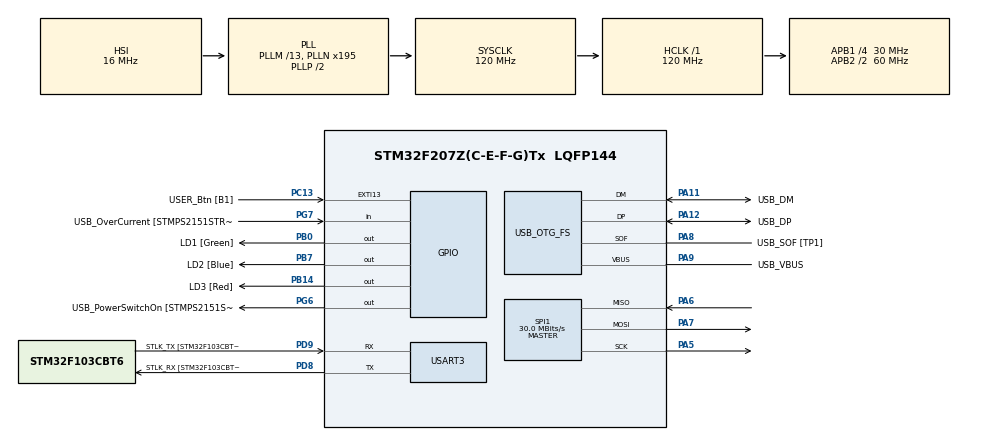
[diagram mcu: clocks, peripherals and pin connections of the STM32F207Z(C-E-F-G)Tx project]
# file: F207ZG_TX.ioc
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Mcu.Family=STM32F2
Mcu.Name=STM32F207Z(C-E-F-G)Tx
Mcu.Package=LQFP144
NVIC.PriorityGroup=NVIC_PRIORITYGROUP_4
PA1.GPIO_Label=RMII_REF_CLK [LAN8742A-CZ-TR_REFCLK0]
PA1.Signal=ETH_REF_CLK
PA10.GPIO_Label=USB_ID
PA10.Signal=USB_OTG_FS_ID
PA11.GPIO_Label=USB_DM
PA11.Mode=Device_Only
PA11.Signal=USB_OTG_FS_DM
PA12.GPIO_Label=USB_DP
PA12.Mode=Device_Only
PA12.Signal=USB_OTG_FS_DP
PA13.GPIO_Label=TMS
PA13.Mode=Serial_Wire
PA13.Signal=SYS_JTMS-SWDIO
PA14.GPIO_Label=TCK
PA14.Mode=Serial_Wire
PA14.Signal=SYS_JTCK-SWCLK
PA2.GPIO_Label=RMII_MDIO [LAN8742A-CZ-TR_MDIO]
PA2.Signal=ETH_MDIO
PA5.Mode=Full_Duplex_Master
PA5.Signal=SPI1_SCK
PA6.Mode=Full_Duplex_Master
PA6.Signal=SPI1_MISO
PA7.Mode=Full_Duplex_Master
PA7.Signal=SPI1_MOSI
PA8.GPIO_Label=USB_SOF [TP1]
PA8.Mode=Activate_SOF_FS
PA8.Signal=USB_OTG_FS_SOF
PA9.GPIO_Label=USB_VBUS
PA9.Mode=Activate_VBUS
PA9.Signal=USB_OTG_FS_VBUS
PB0.GPIO_Label=LD1 [Green]
PB0.Signal=GPIO_Output
PB13.GPIO_Label=RMII_TXD1 [LAN8742A-CZ-TR_TXD1]
PB13.Signal=ETH_TXD1
PB14.GPIO_Label=LD3 [Red]
PB14.Signal=GPIO_Output
PB3.GPIO_Label=SWO
PB3.Signal=SYS_JTDO-SWO
PB7.GPIO_Label=LD2 [Blue]
PB7.Signal=GPIO_Output
PC1.GPIO_Label=RMII_MDC [LAN8742A-CZ-TR_MDC]
PC1.Signal=ETH_MDC
PC13.GPIO_Label=USER_Btn [B1]
PC13.Signal=GPXTI13
PC14-OSC32_IN.Mode=LSE-External-Oscillator
PC14-OSC32_IN.Signal=RCC_OSC32_IN
PC15-OSC32_OUT.Mode=LSE-External-Oscillator
PC15-OSC32_OUT.Signal=RCC_OSC32_OUT
PC4.GPIO_Label=RMII_RXD0 [LAN8742A-CZ-TR_RXD0]
PC4.Signal=ETH_RXD0
PC5.GPIO_Label=RMII_RXD1 [LAN8742A-CZ-TR_RXD1]
PC5.Signal=ETH_RXD1
PD8.GPIO_Label=STLK_RX [STM32F103CBT6_PA2]
PD8.Mode=Asynchronous
PD8.Signal=USART3_TX
PD9.GPIO_Label=STLK_TX [STM32F103CBT6_PA3]
PD9.Mode=Asynchronous
PD9.Signal=USART3_RX
PG11.GPIO_Label=RMII_TX_EN [LAN8742A-CZ-TR_TXEN]
PG11.Signal=ETH_TX_EN
PG13.GPIO_Label=RMII_TXD0 [LAN8742A-CZ-TR_TXD0]
PG13.Signal=ETH_TXD0
PG6.GPIO_Label=USB_PowerSwitchOn [STMPS2151STR_EN]
PG6.Signal=GPIO_Output
PG7.GPIO_Label=USB_OverCurrent [STMPS2151STR_FAULT]
PG7.Signal=GPIO_Input
PH0-OSC_IN.GPIO_Label=MCO [STM32F103CBT6_PA8]
PH0-OSC_IN.Mode=HSE-External-Clock-Source
PH0-OSC_IN.Signal=RCC_OSC_IN
PH1-OSC_OUT.Mode=HSE-External-Clock-Source
PH1-OSC_OUT.Signal=RCC_OSC_OUT
ProjectManager.HeapSize=0x200
ProjectManager.StackSize=0x400
ProjectManager.TargetToolchain=STM32CubeIDE
RCC.48MHZClocksFreq_Value=48000000
RCC.AHBFreq_Value=120000000
RCC.APB1CLKDivider=RCC_HCLK_DIV4
RCC.APB1Freq_Value=30000000
RCC.APB1TimFreq_Value=60000000
RCC.APB2CLKDivider=RCC_HCLK_DIV2
RCC.APB2Freq_Value=60000000
RCC.APB2TimFreq_Value=120000000
RCC.CortexFreq_Value=120000000
RCC.HCLKFreq_Value=120000000
RCC.HSE_VALUE=8000000
RCC.HSI_VALUE=16000000
RCC.PLLM=13
RCC.PLLMUL=RCC_PLL_MUL9
RCC.PLLN=195
RCC.PLLQ=5
RCC.PRESCALERUSB=RCC_USBCLKSOURCE_PLL_DIV1_5
RCC.SYSCLKFreq_VALUE=120000000
RCC.SYSCLKSource=RCC_SYSCLKSOURCE_PLLCLK
RCC.SYSCLKSourceVirtual=RCC_SYSCLKSOURCE_PLLCLK
RCC.USBFreq_Value=48000000
RCC.VCOOutputFreq_Value=240000000
SPI1.CalculateBaudRate=30.0 MBits/s
SPI1.Direction=SPI_DIRECTION_2LINES
SPI1.Mode=SPI_MODE_MASTER
SPI1.VirtualType=VM_MASTER
USART3.VirtualMode=VM_ASYNC
USB_OTG_FS.VirtualMode=Device_Only
board=NUCLEO-F207ZG

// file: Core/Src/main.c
/* USER CODE BEGIN Header */
/**
 ******************************************************************************
 * @file           : main.c
 * @brief          : Main program body
 ******************************************************************************
 * @attention
 *
 * Copyright (c) 2026 STMicroelectronics.
 * All rights reserved.
 *
 * This software is licensed under terms that can be found in the LICENSE file
 * in the root directory of this software component.
 * If no LICENSE file comes with this software, it is provided AS-IS.
 *
 ******************************************************************************
 */
/* USER CODE END Header */
#include "main.h"

/* USER CODE BEGIN Includes */
#include "lora.h"
#include "mpu6050.h"
#include <string.h>
#include <math.h>
/* USER CODE END Includes */

SPI_HandleTypeDef hspi1;

UART_HandleTypeDef huart3;

PCD_HandleTypeDef hpcd_USB_OTG_FS;

/* USER CODE BEGIN PV */
I2C_HandleTypeDef hi2c1;
MPU6050_t MPU6050;
uint8_t tx_buffer[23];
/* USER CODE END PV */

void SystemClock_Config(void);
static void MX_GPIO_Init(void);
static void MX_USART3_UART_Init(void);
static void MX_USB_OTG_FS_PCD_Init(void);
static void MX_SPI1_Init(void);
/* USER CODE BEGIN PFP */
void User_Periph_Init(void);
uint16_t crc16(const uint8_t *data, uint16_t len);
/* USER CODE END PFP */

/* USER CODE BEGIN 0 */
uint16_t crc16(const uint8_t *data, uint16_t len) {
  uint16_t crc = 0xFFFF;
  for (uint16_t i = 0; i < len; i++) {
    crc ^= (uint16_t)data[i] << 8;
    for (uint8_t j = 0; j < 8; j++) {
      if (crc & 0x8000)
        crc = (crc << 1) ^ 0x1021;
      else
        crc <<= 1;
    }
  }
  return crc;
}
/* USER CODE END 0 */

int main(void) {

  /* MCU Configuration--------------------------------------------------------*/

  /* Reset of all peripherals, Initializes the Flash interface and the Systick.
   */
  HAL_Init();

  /* Configure the system clock */
  SystemClock_Config();

  /* Initialize all configured peripherals */
  MX_GPIO_Init();
  MX_USART3_UART_Init();
  MX_USB_OTG_FS_PCD_Init();
  MX_SPI1_Init();
  /* USER CODE BEGIN 2 */
  // Manually initialize I2C1 and Interrupts (since they aren't generated by
  // CubeMX yet)
  User_Periph_Init();

  // Initialize LoRa
  SX1278_Init();
  char *msg = "LoRa initialized OK\r\n";
  HAL_UART_Transmit(&huart3, (uint8_t *)msg, strlen(msg), 100);

  // Initialize MPU6050
  if (MPU6050_Init(&hi2c1) == 0) {
    char *msg2 = "MPU6050 initialized OK\r\n";
    HAL_UART_Transmit(&huart3, (uint8_t *)msg2, strlen(msg2), 100);
  } else {
    char *msg2 = "MPU6050 failed to initialize\r\n";
    HAL_UART_Transmit(&huart3, (uint8_t *)msg2, strlen(msg2), 100);
  }

  // Prepare static parts of the StructEye packet
  tx_buffer[0] = 0xAA;
  tx_buffer[1] = 0x03;  // Node ID (Node 3 = F207ZG)
  tx_buffer[2] = 0x00;  // Seq (will be updated in loop)
  // Bytes 3-18 are IMU data (updated in loop)
  // Bytes 19-20 are Status and Alert (updated in loop)
  tx_buffer[21] = 0x00; // CRC MSB
  tx_buffer[22] = 0x55; // End Byte
  /* USER CODE END 2 */

  /* Infinite loop */
  /* USER CODE BEGIN WHILE */
  uint8_t seq = 0;
  while (1) {
    /* USER CODE END WHILE */

    /* USER CODE BEGIN 3 */
    char uartMsg[128];
    sprintf(uartMsg, "\r\n--- Reading Sensor Data ---\r\n");
    HAL_UART_Transmit(&huart3, (uint8_t *)uartMsg, strlen(uartMsg), 100);

    MPU6050_Read_All(&hi2c1, &MPU6050);

    // Scale raw values
    float accelX = (MPU6050.Accel_X / 16384.0f) * 9.81f;
    float accelY = (MPU6050.Accel_Y / 16384.0f) * 9.81f;
    float accelZ = (MPU6050.Accel_Z / 16384.0f) * 9.81f;

    float gyroX = MPU6050.Gyro_X / 131.0f;
    float gyroY = MPU6050.Gyro_Y / 131.0f;
    float gyroZ = MPU6050.Gyro_Z / 131.0f;

    // Compute metrics
    float vibration = sqrtf(accelX*accelX + accelY*accelY + accelZ*accelZ);

    // Orientation-independent tilt: find the dominant gravity axis,
    // then measure how far the sensor has deviated from perfectly flat.
    // This works no matter which way the board is physically mounted.
    float maxAxis = fabsf(accelX);
    if (fabsf(accelY) > maxAxis) maxAxis = fabsf(accelY);
    if (fabsf(accelZ) > maxAxis) maxAxis = fabsf(accelZ);

    float tilt = 0.0f;
    if (vibration > 0.1f) {
      tilt = acosf(maxAxis / vibration) * 180.0f / 3.14159265f;
    }

    sprintf(uartMsg, "Vibration: %.2f m/s2, Tilt: %.2f deg\r\n", vibration, tilt);
    HAL_UART_Transmit(&huart3, (uint8_t *)uartMsg, strlen(uartMsg), 100);

    // Status flags and alert level
    uint8_t status_flags = 0;
    uint8_t alert_level = 0;

    if (vibration > 12.0f) status_flags |= (1 << 0);
    if (fabsf(tilt) > 15.0f) status_flags |= (1 << 1);
    if (MPU6050.Accel_X == 0 && MPU6050.Accel_Y == 0 && MPU6050.Accel_Z == 0) status_flags |= (1 << 2);
    if (seq == 0) status_flags |= (1 << 3);

    if ((status_flags & 0x03) != 0) {
      alert_level = 2; // CRITICAL
    } else if (vibration > 10.0f || fabsf(tilt) > 10.0f) {
      alert_level = 1; // WARN
    }

    // Pack 23-byte frame
    tx_buffer[2] = seq++;

    int16_t ax_scaled = (int16_t)(accelX * 100);
    int16_t ay_scaled = (int16_t)(accelY * 100);
    int16_t az_scaled = (int16_t)(accelZ * 100);
    int16_t gx_scaled = (int16_t)(gyroX * 100);
    int16_t gy_scaled = (int16_t)(gyroY * 100);
    int16_t gz_scaled = (int16_t)(gyroZ * 100);
    uint16_t vib_scaled = (uint16_t)(vibration * 100);
    int16_t tilt_scaled = (int16_t)(tilt * 100);

    tx_buffer[3] = (ax_scaled >> 8) & 0xFF; tx_buffer[4] = ax_scaled & 0xFF;
    tx_buffer[5] = (ay_scaled >> 8) & 0xFF; tx_buffer[6] = ay_scaled & 0xFF;
    tx_buffer[7] = (az_scaled >> 8) & 0xFF; tx_buffer[8] = az_scaled & 0xFF;

    tx_buffer[9] = (gx_scaled >> 8) & 0xFF; tx_buffer[10] = gx_scaled & 0xFF;
    tx_buffer[11] = (gy_scaled >> 8) & 0xFF; tx_buffer[12] = gy_scaled & 0xFF;
    tx_buffer[13] = (gz_scaled >> 8) & 0xFF; tx_buffer[14] = gz_scaled & 0xFF;

    tx_buffer[15] = (vib_scaled >> 8) & 0xFF; tx_buffer[16] = vib_scaled & 0xFF;
    tx_buffer[17] = (tilt_scaled >> 8) & 0xFF; tx_buffer[18] = tilt_scaled & 0xFF;

    tx_buffer[19] = status_flags;
    tx_buffer[20] = alert_level;

    // CRC Calculation
    uint16_t crc = crc16(tx_buffer, 21);
    tx_buffer[21] = (crc >> 8) & 0xFF;
    tx_buffer[22] = crc & 0xFF;

    // Print the Dataframe
    char hexMsg[128] = "Dataframe (HEX): ";
    char byteStr[8];
    for(int i = 0; i < 23; i++) {
        sprintf(byteStr, "%02X ", tx_buffer[i]);
        strcat(hexMsg, byteStr);
    }
    strcat(hexMsg, "\r\n");
    HAL_UART_Transmit(&huart3, (uint8_t *)hexMsg, strlen(hexMsg), 100);

    // Transmit
    sprintf(uartMsg, "Sending packet via LoRa...\r\n");
    HAL_UART_Transmit(&huart3, (uint8_t *)uartMsg, strlen(uartMsg), 100);

    SX1278_Transmit(tx_buffer, 23);

    sprintf(uartMsg, "LoRa Packet sent successfully.\r\nWaiting 10 seconds...\r\n");
    HAL_UART_Transmit(&huart3, (uint8_t *)uartMsg, strlen(uartMsg), 100);

    // Toggle LD1 (Green LED) on PB0 to indicate successful transmit
    HAL_GPIO_TogglePin(GPIOB, GPIO_PIN_0);

    HAL_Delay(10000);
  }
  /* USER CODE END 3 */
}

void SystemClock_Config(void) {
  RCC_OscInitTypeDef RCC_OscInitStruct = {0};
  RCC_ClkInitTypeDef RCC_ClkInitStruct = {0};

  /** Initializes the RCC Oscillators according to the specified parameters
   * in the RCC_OscInitTypeDef structure.
   */
  RCC_OscInitStruct.OscillatorType = RCC_OSCILLATORTYPE_HSI;
  RCC_OscInitStruct.HSIState = RCC_HSI_ON;
  RCC_OscInitStruct.HSICalibrationValue = RCC_HSICALIBRATION_DEFAULT;
  RCC_OscInitStruct.PLL.PLLState = RCC_PLL_ON;
  RCC_OscInitStruct.PLL.PLLSource = RCC_PLLSOURCE_HSI;
  RCC_OscInitStruct.PLL.PLLM = 13;
  RCC_OscInitStruct.PLL.PLLN = 195;
  RCC_OscInitStruct.PLL.PLLP = RCC_PLLP_DIV2;
  RCC_OscInitStruct.PLL.PLLQ = 5;
  if (HAL_RCC_OscConfig(&RCC_OscInitStruct) != HAL_OK) {
    Error_Handler();
  }

  /** Initializes the CPU, AHB and APB buses clocks
   */
  RCC_ClkInitStruct.ClockType = RCC_CLOCKTYPE_HCLK | RCC_CLOCKTYPE_SYSCLK |
                                RCC_CLOCKTYPE_PCLK1 | RCC_CLOCKTYPE_PCLK2;
  RCC_ClkInitStruct.SYSCLKSource = RCC_SYSCLKSOURCE_PLLCLK;
  RCC_ClkInitStruct.AHBCLKDivider = RCC_SYSCLK_DIV1;
  RCC_ClkInitStruct.APB1CLKDivider = RCC_HCLK_DIV4;
  RCC_ClkInitStruct.APB2CLKDivider = RCC_HCLK_DIV2;

  if (HAL_RCC_ClockConfig(&RCC_ClkInitStruct, FLASH_LATENCY_3) != HAL_OK) {
    Error_Handler();
  }
}

static void MX_SPI1_Init(void) {

  /* SPI1 parameter configuration*/
  hspi1.Instance = SPI1;
  hspi1.Init.Mode = SPI_MODE_MASTER;
  hspi1.Init.Direction = SPI_DIRECTION_2LINES;
  hspi1.Init.DataSize = SPI_DATASIZE_8BIT;
  hspi1.Init.CLKPolarity = SPI_POLARITY_LOW;
  hspi1.Init.CLKPhase = SPI_PHASE_1EDGE;
  hspi1.Init.NSS = SPI_NSS_SOFT;
  hspi1.Init.BaudRatePrescaler = SPI_BAUDRATEPRESCALER_2;
  hspi1.Init.FirstBit = SPI_FIRSTBIT_MSB;
  hspi1.Init.TIMode = SPI_TIMODE_DISABLE;
  hspi1.Init.CRCCalculation = SPI_CRCCALCULATION_DISABLE;
  hspi1.Init.CRCPolynomial = 10;
  if (HAL_SPI_Init(&hspi1) != HAL_OK) {
    Error_Handler();
  }
}

static void MX_USART3_UART_Init(void) {

  huart3.Instance = USART3;
  huart3.Init.BaudRate = 115200;
  huart3.Init.WordLength = UART_WORDLENGTH_8B;
  huart3.Init.StopBits = UART_STOPBITS_1;
  huart3.Init.Parity = UART_PARITY_NONE;
  huart3.Init.Mode = UART_MODE_TX_RX;
  huart3.Init.HwFlowCtl = UART_HWCONTROL_NONE;
  huart3.Init.OverSampling = UART_OVERSAMPLING_16;
  if (HAL_UART_Init(&huart3) != HAL_OK) {
    Error_Handler();
  }
}

static void MX_USB_OTG_FS_PCD_Init(void) {

  hpcd_USB_OTG_FS.Instance = USB_OTG_FS;
  hpcd_USB_OTG_FS.Init.dev_endpoints = 4;
  hpcd_USB_OTG_FS.Init.speed = PCD_SPEED_FULL;
  hpcd_USB_OTG_FS.Init.dma_enable = DISABLE;
  hpcd_USB_OTG_FS.Init.phy_itface = PCD_PHY_EMBEDDED;
  hpcd_USB_OTG_FS.Init.Sof_enable = ENABLE;
  hpcd_USB_OTG_FS.Init.low_power_enable = DISABLE;
  hpcd_USB_OTG_FS.Init.vbus_sensing_enable = ENABLE;
  hpcd_USB_OTG_FS.Init.use_dedicated_ep1 = DISABLE;
  if (HAL_PCD_Init(&hpcd_USB_OTG_FS) != HAL_OK) {
    Error_Handler();
  }
}

static void MX_GPIO_Init(void) {
  GPIO_InitTypeDef GPIO_InitStruct = {0};

  /* GPIO Ports Clock Enable */
  __HAL_RCC_GPIOC_CLK_ENABLE();
  __HAL_RCC_GPIOH_CLK_ENABLE();
  __HAL_RCC_GPIOA_CLK_ENABLE();
  __HAL_RCC_GPIOB_CLK_ENABLE();
  __HAL_RCC_GPIOD_CLK_ENABLE();
  __HAL_RCC_GPIOG_CLK_ENABLE();

  /*Configure GPIO pin Output Level */
  HAL_GPIO_WritePin(GPIOB, LD1_Pin | LD3_Pin | LD2_Pin, GPIO_PIN_RESET);

  /*Configure GPIO pin Output Level */
  HAL_GPIO_WritePin(USB_PowerSwitchOn_GPIO_Port, USB_PowerSwitchOn_Pin,
                    GPIO_PIN_RESET);

  /*Configure GPIO pin : USER_Btn_Pin */
  GPIO_InitStruct.Pin = USER_Btn_Pin;
  GPIO_InitStruct.Mode = GPIO_MODE_IT_RISING;
  GPIO_InitStruct.Pull = GPIO_NOPULL;
  HAL_GPIO_Init(USER_Btn_GPIO_Port, &GPIO_InitStruct);

  /*Configure GPIO pins : RMII_MDC_Pin RMII_RXD0_Pin RMII_RXD1_Pin */
  GPIO_InitStruct.Pin = RMII_MDC_Pin | RMII_RXD0_Pin | RMII_RXD1_Pin;
  GPIO_InitStruct.Mode = GPIO_MODE_AF_PP;
  GPIO_InitStruct.Pull = GPIO_NOPULL;
  GPIO_InitStruct.Speed = GPIO_SPEED_FREQ_VERY_HIGH;
  GPIO_InitStruct.Alternate = GPIO_AF11_ETH;
  HAL_GPIO_Init(GPIOC, &GPIO_InitStruct);

  /*Configure GPIO pins : RMII_REF_CLK_Pin RMII_MDIO_Pin */
  GPIO_InitStruct.Pin = RMII_REF_CLK_Pin | RMII_MDIO_Pin;
  GPIO_InitStruct.Mode = GPIO_MODE_AF_PP;
  GPIO_InitStruct.Pull = GPIO_NOPULL;
  GPIO_InitStruct.Speed = GPIO_SPEED_FREQ_VERY_HIGH;
  GPIO_InitStruct.Alternate = GPIO_AF11_ETH;
  HAL_GPIO_Init(GPIOA, &GPIO_InitStruct);

  /*Configure GPIO pins : LD1_Pin LD3_Pin LD2_Pin */
  GPIO_InitStruct.Pin = LD1_Pin | LD3_Pin | LD2_Pin;
  GPIO_InitStruct.Mode = GPIO_MODE_OUTPUT_PP;
  GPIO_InitStruct.Pull = GPIO_NOPULL;
  GPIO_InitStruct.Speed = GPIO_SPEED_FREQ_LOW;
  HAL_GPIO_Init(GPIOB, &GPIO_InitStruct);

  /*Configure GPIO pin : RMII_TXD1_Pin */
  GPIO_InitStruct.Pin = RMII_TXD1_Pin;
  GPIO_InitStruct.Mode = GPIO_MODE_AF_PP;
  GPIO_InitStruct.Pull = GPIO_NOPULL;
  GPIO_InitStruct.Speed = GPIO_SPEED_FREQ_VERY_HIGH;
  GPIO_InitStruct.Alternate = GPIO_AF11_ETH;
  HAL_GPIO_Init(RMII_TXD1_GPIO_Port, &GPIO_InitStruct);

  /*Configure GPIO pin : USB_PowerSwitchOn_Pin */
  GPIO_InitStruct.Pin = USB_PowerSwitchOn_Pin;
  GPIO_InitStruct.Mode = GPIO_MODE_OUTPUT_PP;
  GPIO_InitStruct.Pull = GPIO_NOPULL;
  GPIO_InitStruct.Speed = GPIO_SPEED_FREQ_LOW;
  HAL_GPIO_Init(USB_PowerSwitchOn_GPIO_Port, &GPIO_InitStruct);

  /*Configure GPIO pin : USB_OverCurrent_Pin */
  GPIO_InitStruct.Pin = USB_OverCurrent_Pin;
  GPIO_InitStruct.Mode = GPIO_MODE_INPUT;
  GPIO_InitStruct.Pull = GPIO_NOPULL;
  HAL_GPIO_Init(USB_OverCurrent_GPIO_Port, &GPIO_InitStruct);

  /*Configure GPIO pins : RMII_TX_EN_Pin RMII_TXD0_Pin */
  GPIO_InitStruct.Pin = RMII_TX_EN_Pin | RMII_TXD0_Pin;
  GPIO_InitStruct.Mode = GPIO_MODE_AF_PP;
  GPIO_InitStruct.Pull = GPIO_NOPULL;
  GPIO_InitStruct.Speed = GPIO_SPEED_FREQ_VERY_HIGH;
  GPIO_InitStruct.Alternate = GPIO_AF11_ETH;
  HAL_GPIO_Init(GPIOG, &GPIO_InitStruct);

}

/* USER CODE BEGIN 4 */
void User_Periph_Init(void) {
  GPIO_InitTypeDef GPIO_InitStruct = {0};

  /* Enable Clocks */
  __HAL_RCC_I2C1_CLK_ENABLE();
  __HAL_RCC_GPIOB_CLK_ENABLE();
  __HAL_RCC_GPIOC_CLK_ENABLE();

  /* I2C1 GPIO Configuration: PB8->SCL, PB9->SDA */
  GPIO_InitStruct.Pin = GPIO_PIN_8 | GPIO_PIN_9;
  GPIO_InitStruct.Mode = GPIO_MODE_AF_OD;
  GPIO_InitStruct.Pull = GPIO_NOPULL;
  GPIO_InitStruct.Speed = GPIO_SPEED_FREQ_VERY_HIGH;
  GPIO_InitStruct.Alternate = GPIO_AF4_I2C1;
  HAL_GPIO_Init(GPIOB, &GPIO_InitStruct);

  /* Initialize I2C1 */
  hi2c1.Instance = I2C1;
  hi2c1.Init.ClockSpeed = 100000;
  hi2c1.Init.DutyCycle = I2C_DUTYCYCLE_2;
  hi2c1.Init.OwnAddress1 = 0;
  hi2c1.Init.AddressingMode = I2C_ADDRESSINGMODE_7BIT;
  hi2c1.Init.DualAddressMode = I2C_DUALADDRESS_DISABLE;
  hi2c1.Init.OwnAddress2 = 0;
  hi2c1.Init.GeneralCallMode = I2C_GENERALCALL_DISABLE;
  hi2c1.Init.NoStretchMode = I2C_NOSTRETCH_DISABLE;
  HAL_I2C_Init(&hi2c1);

  /* LoRa CS (PB6) and RST (PB5) Output Configuration */
  HAL_GPIO_WritePin(GPIOB, GPIO_PIN_5 | GPIO_PIN_6, GPIO_PIN_RESET);
  GPIO_InitStruct.Pin = GPIO_PIN_5 | GPIO_PIN_6;
  GPIO_InitStruct.Mode = GPIO_MODE_OUTPUT_PP;
  GPIO_InitStruct.Pull = GPIO_NOPULL;
  GPIO_InitStruct.Speed = GPIO_SPEED_FREQ_LOW;
  HAL_GPIO_Init(GPIOB, &GPIO_InitStruct);

  /* LoRa DIO0 (PB4) EXTI Interrupt */
  GPIO_InitStruct.Pin = GPIO_PIN_4;
  GPIO_InitStruct.Mode = GPIO_MODE_IT_RISING;
  GPIO_InitStruct.Pull = GPIO_NOPULL;
  HAL_GPIO_Init(GPIOB, &GPIO_InitStruct);

  /* MPU6050 INT (PC0) EXTI Interrupt */
  GPIO_InitStruct.Pin = GPIO_PIN_0;
  GPIO_InitStruct.Mode = GPIO_MODE_IT_RISING;
  GPIO_InitStruct.Pull = GPIO_NOPULL;
  HAL_GPIO_Init(GPIOC, &GPIO_InitStruct);

  /* NVIC Setup for EXTI */
  HAL_NVIC_SetPriority(EXTI0_IRQn, 0, 0);
  HAL_NVIC_EnableIRQ(EXTI0_IRQn);
  HAL_NVIC_SetPriority(EXTI4_IRQn, 0, 0);
  HAL_NVIC_EnableIRQ(EXTI4_IRQn);
}
/* USER CODE END 4 */

void Error_Handler(void) {
  __disable_irq();
  while (1) {
  }
}
#ifdef USE_FULL_ASSERT
/**
 * @brief  Reports the name of the source file and the source line number
 *         where the assert_param error has occurred.
 * @param  file: pointer to the source file name
 * @param  line: assert_param error line source number
 * @retval None
 */
void assert_failed(uint8_t *file, uint32_t line) {
  /* USER CODE BEGIN 6 */
  /* User can add his own implementation to report the file name and line
     number, ex: printf("Wrong parameters value: file %s on line %d\r\n", file,
     line) */
  /* USER CODE END 6 */
}
#endif /* USE_FULL_ASSERT */
// n2
